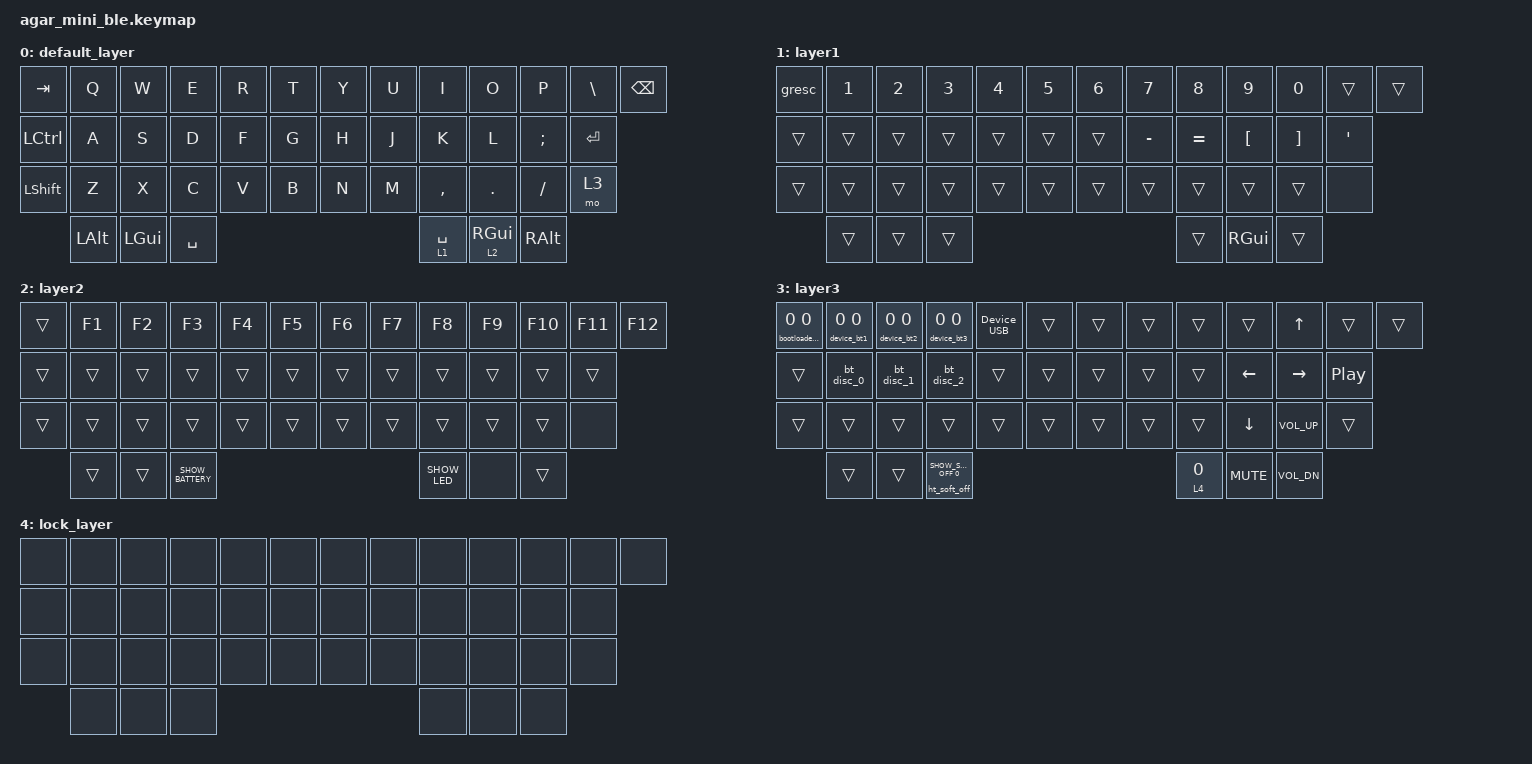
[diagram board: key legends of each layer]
/*
 * Copyright (c) 2021 The ZMK Contributors
 *
 * SPDX-License-Identifier: MIT
 */

#include "./boards/shields/klink_kbd/common.keymap"
#include <behaviors.dtsi>
#include <dt-bindings/zmk/keys.h>
#include <dt-bindings/zmk/pointing.h>
#include <dt-bindings/zmk/bt.h>

/ {
    combos {
        compatible = "zmk,combos";

        /*
         * Lock layer exit combo
         * Keys: positions 36 and 40 (bottom row outer keys)
         * Condition: Only active on layer 4
         */
        combo_lock_toggle {
            timeout-ms = <200>;
            key-positions = <36 40>;
            bindings = <&ht_tog 4 0>;
            layers = <4>;
        };
    };

    keymap {
        compatible = "zmk,keymap";

        default_layer {
            bindings = <
// ┌──────────┬───────┬──────────┬───────┬───────┬───────┬───────┬───────┬──────────┬───────────┬──────────┬──────────┬─────────┐
    &kp TAB    &kp Q   &kp W      &kp E   &kp R   &kp T   &kp Y   &kp U   &kp I      &kp O       &kp P      &kp BSLH   &kp BSPC
// ├──────────┼───────┼──────────┼───────┼───────┼───────┼───────┼───────┼──────────┼───────────┼──────────┼──────────┤
    &kp LCTRL  &kp A   &kp S      &kp D   &kp F   &kp G   &kp H   &kp J   &kp K      &kp L       &kp SEMI   &kp RET
// ├──────────┼───────┼──────────┼───────┼───────┼───────┼───────┼───────┼──────────┼───────────┼──────────┼──────────┤
    &kp LSHFT  &kp Z   &kp X      &kp C   &kp V   &kp B   &kp N   &kp M   &kp COMMA  &kp DOT     &kp SLASH  &mo 3
// └──────────┴───────┼──────────┼───────┴───────┴───────┼───────┴───────┴──────────┼───────────┼──────────┴──────────┘
             &kp LALT  &kp LGUI   &kp SPACE               &lt_hp 1 SPACE             &lt 2 RGUI  &kp RALT
//                    └──────────┴───────────────────────┴──────────────────────────┴───────────┘
            >;
        };

        layer1 {
            bindings = <
// ┌───────┬───────┬─────────┬─────────┬────────┬─────────┬────────┬───────────┬───────────┬──────────┬──────────┬─────────┬───────┐
    &gresc  &kp N1  &kp N2    &kp N3    &kp N4   &kp N5    &kp N6   &kp N7      &kp N8      &kp N9     &kp N0     &trans    &trans
// ├───────┼───────┼─────────┼─────────┼────────┼─────────┼────────┼───────────┼───────────┼──────────┼──────────┼─────────┤
    &trans  &trans  &trans    &trans    &trans   &trans    &trans   &kp MINUS   &kp EQUAL   &kp LBKT   &kp RBKT   &kp SQT
// ├───────┼───────┼─────────┼─────────┼────────┼─────────┼────────┼───────────┼───────────┼──────────┼──────────┼─────────┤
    &trans  &trans  &trans    &trans    &trans   &trans    &trans   &trans      &trans      &trans     &trans     &none
// └───────┴───────┼─────────┼─────────┴────────┴─────────┼────────┴───────────┴───────────┼──────────┼──────────┴─────────┘
            &trans  &trans    &trans                       &trans                            &kp RGUI   &trans
//                 └─────────┴────────────────────────────┴────────────────────────────────┴──────────┘
            >;
        };

        layer2 {
            bindings = <
// ┌─────────┬───────┬───────┬───────┬───────┬───────┬───────┬───────┬───────┬────────┬────────┬────────┬───────┐
    &trans    &kp F1  &kp F2  &kp F3  &kp F4  &kp F5  &kp F6  &kp F7  &kp F8  &kp F9   &kp F10  &kp F11  &kp F12
// ├─────────┼───────┼───────┼───────┼───────┼───────┼───────┼───────┼───────┼────────┼────────┼────────┤
    &trans    &trans  &trans  &trans  &trans  &trans  &trans  &trans  &trans  &trans   &trans   &trans
// ├─────────┼───────┼───────┼───────┼───────┼───────┼───────┼───────┼───────┼────────┼────────┼────────┤
    &trans    &trans  &trans  &trans  &trans  &trans  &trans  &trans  &trans  &trans   &trans   &none
// └─────────┴───────┼───────┼───────┴───────┴───────┼───────┴───────┴───────┼────────┼────────┴────────┘
              &trans  &trans  &kp SHOW_BATTERY        &kp SHOW_LED            &none    &trans
//                   └───────┴───────────────────────┴───────────────────────┴────────┘
            >;
        };

        layer3 {
            bindings = <
// ┌──────────────────────┬────────────────┬────────────────┬────────────────┬────────────┬─────────────┬───────┬───────┬───────┬──────────┬──────────────┬─────────┬───────┐
    &bootloader_reset 0 0  &device_bt1 0 0  &device_bt2 0 0  &device_bt3 0 0  &Device_USB  &trans        &trans  &trans  &trans  &trans     &kp UP         &trans    &trans
// ├──────────────────────┼────────────────┼────────────────┼────────────────┼────────────┼─────────────┼───────┼───────┼───────┼──────────┼──────────────┼─────────┤
    &trans                 &bt_disc_0       &bt_disc_1       &bt_disc_2       &trans       &trans        &trans  &trans  &trans  &kp LEFT   &kp RIGHT      &kp C_PP
// ├──────────────────────┼────────────────┼────────────────┼────────────────┼────────────┼─────────────┼───────┼───────┼───────┼──────────┼──────────────┼─────────┤
    &trans                 &trans           &trans           &trans           &trans       &trans        &trans  &trans  &trans  &kp DOWN   &kp C_VOL_UP   &trans
// └──────────────────────┴────────────────┼────────────────┼────────────────┴────────────┴─────────────┼───────┴───────┴───────┼──────────┼──────────────┴─────────┘
                           &trans           &trans           &ht_soft_off SHOW_SOFT_OFF 0                &ht_tog 4 0             &kp C_MUTE &kp C_VOL_DN
//                                         └────────────────┴───────────────────────────────────────────┴───────────────────────┴──────────┘
            >;
        };

        /*
         * Lock Layer (Layer 4)
         * Purpose: Disable all key inputs for safe transport or storage.
         * Entry: layer3 + space (ht_tog 4 0 with 2-second hold)
         * Exit: Combo <36 40> with 2-second hold (layer 4 only)
         */
        lock_layer {
            bindings = <
// ┌─────────┬─────────┬─────────┬─────────┬─────────┬─────────┬─────────┬─────────┬─────────┬─────────┬─────────┬─────────┬─────────┐
    &none     &none     &none     &none     &none     &none     &none     &none     &none     &none     &none     &none     &none
// ├─────────┼─────────┼─────────┼─────────┼─────────┼─────────┼─────────┼─────────┼─────────┼─────────┼─────────┼─────────┤
    &none     &none     &none     &none     &none     &none     &none     &none     &none     &none     &none     &none
// ├─────────┼─────────┼─────────┼─────────┼─────────┼─────────┼─────────┼─────────┼─────────┼─────────┼─────────┼─────────┤
    &none     &none     &none     &none     &none     &none     &none     &none     &none     &none     &none     &none
// └─────────┴─────────┼─────────┼─────────┴─────────┴─────────┼─────────┴─────────┴─────────┼─────────┼─────────┴─────────┘
              &none     &none         &none                         &none                     &none     &none
//                     └─────────┴─────────────────────────────┴─────────────────────────────┴─────────┘
            >;
        };
        layer5 { status = "reserved"; };
        layer6 { status = "reserved"; };
        layer7 { status = "reserved"; };
    };
};
